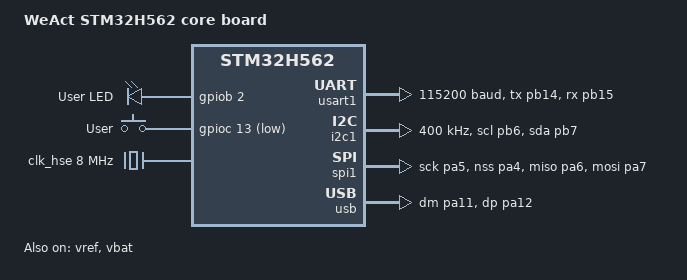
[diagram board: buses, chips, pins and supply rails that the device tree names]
/dts-v1/;
#include <st/h5/stm32h562.dtsi>
#include <st/h5/stm32h562rgtx-pinctrl.dtsi>
#include <zephyr/dt-bindings/input/input-event-codes.h>
#include <mem.h>

/ {
    model = "WeAct STM32H562 core board";
    compatible = "weact,stm32h562_core";

    chosen {
        zephyr,console = &usart1;
        zephyr,shell-uart = &usart1;
        zephyr,sram = &sram1;
        zephyr,flash = &flash0;
        zephyr,code-partition = &slot0_partition;
    };

    leds: leds {
        compatible = "gpio-leds";
        user_led: led {
            gpios = <&gpiob 2 GPIO_ACTIVE_HIGH>;
            label = "User LED";
        };
    };

    gpio_keys {
        compatible = "gpio-keys";
        user_button: button {
            label = "User";
            gpios = <&gpioc 13 (GPIO_ACTIVE_LOW | GPIO_PULL_UP)>;
            zephyr,code = <INPUT_KEY_0>;
        };
    };

    aliases {
        led0 = &user_led;
        sw0 = &user_button;
        volt-sensor0 = &vref;
        volt-sensor1 = &vbat;
    };
};

&usart1 {
	pinctrl-0 = <&usart1_tx_pb14 &usart1_rx_pb15>;
	pinctrl-names = "default";
    status = "okay";
	current-speed = <115200>;
};

&i2c1 {
    pinctrl-0 = <&i2c1_scl_pb6 &i2c1_sda_pb7>;
    pinctrl-names = "default";
    status = "okay";
    clock-frequency = <I2C_BITRATE_FAST>;
};

&spi1 {
    pinctrl-0 = <&spi1_sck_pa5 &spi1_nss_pa4
                 &spi1_miso_pa6 &spi1_mosi_pa7>;
    pinctrl-names = "default";
    status = "okay";
};

&clk_hse {
    clock-frequency = <DT_FREQ_M(8)>;
    status = "okay";
};

&clk_hsi48 {
    status = "okay";
};

&clk_lse {
    status = "okay";
};

&clk_lsi {
    status = "okay";
};

&clk_csi {
    status = "okay";
};

&pll {
    div-m = <1>;
    mul-n = <60>;
    div-p = <2>;
    div-q = <2>;
    div-r = <2>;
    clocks = <&clk_hse>;
    status = "okay";
};

&rcc {
    clocks = <&pll>;
    clock-frequency = <DT_FREQ_M(240)>;
    ahb-prescaler = <1>;
    apb1-prescaler = <1>;
    apb2-prescaler = <1>;
    apb3-prescaler = <1>;
};

&gpdma1 {
    status = "okay";
};

&gpdma2 {
    status = "okay";
};

&flash0 {
    reg = <0x08000000 DT_SIZE_M(2)>;
    
    partitions {
        compatible = "fixed-partitions";
        #address-cells = <1>;
        #size-cells = <1>;

        boot_partition: partition@0 {
            label = "mcuboot";
            reg = <0x00000000 DT_SIZE_K(64)>;
        };
        slot0_partition: partition@10000 {
            label = "image-0";
            reg = <0x00010000 DT_SIZE_K(960)>;
        };
        slot1_partition: partition@100000 {
            label = "image-1";
            reg = <0x00100000 DT_SIZE_K(960)>;
        };
        storage_partition: partition@1f0000 {
            label = "storage";
            reg = <0x001f0000 DT_SIZE_K(64)>;
        };
    };
};

zephyr_udc0: &usb {
    pinctrl-0 = <&usb_dm_pa11 &usb_dp_pa12>;
    pinctrl-names = "default";
    status = "okay";
};

&vref {
	status = "okay";
};

&vbat {
	status = "okay";
};
